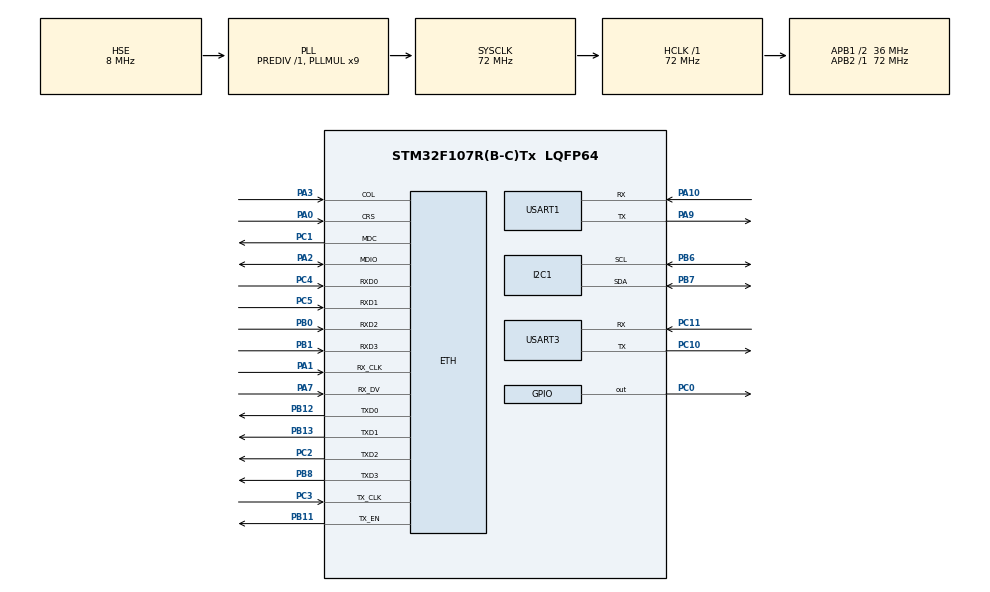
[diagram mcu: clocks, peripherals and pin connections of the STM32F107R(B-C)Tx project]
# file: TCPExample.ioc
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Dma.Request0=USART1_TX
Dma.Request1=USART1_RX
Dma.Request2=USART3_RX
Dma.Request3=USART3_TX
Dma.USART1_RX.1.Direction=DMA_PERIPH_TO_MEMORY
Dma.USART1_RX.1.Instance=DMA1_Channel5
Dma.USART1_RX.1.MemDataAlignment=DMA_MDATAALIGN_BYTE
Dma.USART1_RX.1.MemInc=DMA_MINC_ENABLE
Dma.USART1_RX.1.Mode=DMA_NORMAL
Dma.USART1_RX.1.PeriphDataAlignment=DMA_PDATAALIGN_BYTE
Dma.USART1_RX.1.PeriphInc=DMA_PINC_DISABLE
Dma.USART1_RX.1.Priority=DMA_PRIORITY_LOW
Dma.USART1_TX.0.Direction=DMA_MEMORY_TO_PERIPH
Dma.USART1_TX.0.Instance=DMA1_Channel4
Dma.USART1_TX.0.MemDataAlignment=DMA_MDATAALIGN_BYTE
Dma.USART1_TX.0.MemInc=DMA_MINC_ENABLE
Dma.USART1_TX.0.Mode=DMA_NORMAL
Dma.USART1_TX.0.PeriphDataAlignment=DMA_PDATAALIGN_BYTE
Dma.USART1_TX.0.PeriphInc=DMA_PINC_DISABLE
Dma.USART1_TX.0.Priority=DMA_PRIORITY_LOW
Dma.USART3_RX.2.Direction=DMA_PERIPH_TO_MEMORY
Dma.USART3_RX.2.Instance=DMA1_Channel3
Dma.USART3_RX.2.MemDataAlignment=DMA_MDATAALIGN_BYTE
Dma.USART3_RX.2.MemInc=DMA_MINC_ENABLE
Dma.USART3_RX.2.Mode=DMA_NORMAL
Dma.USART3_RX.2.PeriphDataAlignment=DMA_PDATAALIGN_BYTE
Dma.USART3_RX.2.PeriphInc=DMA_PINC_DISABLE
Dma.USART3_RX.2.Priority=DMA_PRIORITY_LOW
Dma.USART3_TX.3.Direction=DMA_MEMORY_TO_PERIPH
Dma.USART3_TX.3.Instance=DMA1_Channel2
Dma.USART3_TX.3.MemDataAlignment=DMA_MDATAALIGN_BYTE
Dma.USART3_TX.3.MemInc=DMA_MINC_ENABLE
Dma.USART3_TX.3.Mode=DMA_NORMAL
Dma.USART3_TX.3.PeriphDataAlignment=DMA_PDATAALIGN_BYTE
Dma.USART3_TX.3.PeriphInc=DMA_PINC_DISABLE
Dma.USART3_TX.3.Priority=DMA_PRIORITY_LOW
ETH.MediaInterface=ETH_MEDIA_INTERFACE_MII
ETH.PHY_CONFIG_DELAY=0x000000FFF
ETH.PHY_DUPLEX_STATUS=0x0010
ETH.PHY_Name_MII=userPHY
ETH.PHY_RESET_DELAY=5000
ETH.PHY_SPEED_STATUS=0x0004
ETH.PHY_SR=0x1F
ETH.PhyAddress=7
FREERTOS.Tasks01=defaultTask,0,1024,StartDefaultTask,Default,NULL,Dynamic,NULL,NULL
FREERTOS.configTOTAL_HEAP_SIZE=16384
FREERTOS.configUSE_TIMERS=1
LWIP.DEFAULT_RAW_RECVMBOX_SIZE=6
LWIP.GATEWAY_ADDRESS=192.168.001.001
LWIP.IP_ADDRESS=192.168.001.200
LWIP.LWIP_ALLOW_MEM_FREE_FROM_OTHER_CONTEXT=1
LWIP.LWIP_DHCP=0
LWIP.LWIP_DNS=1
LWIP.LWIP_NETIF_API=0
LWIP.LWIP_NETIF_LINK_CALLBACK=1
LWIP.LWIP_NETIF_REMOVE_CALLBACK=0
LWIP.LWIP_RAW=1
LWIP.LWIP_SO_RCVTIMEO=1
LWIP.LWIP_SO_SNDTIMEO=1
LWIP.LWIP_TCP_KEEPALIVE=1
LWIP.MEMP_MEM_MALLOC=1
LWIP.MEMP_NUM_REASSDATA=10
LWIP.MEM_SIZE=3200
LWIP.NETMASK_ADDRESS=255.255.255.000
LWIP.TCP_OOSEQ_MAX_PBUFS=64
LWIP.Version=v2.0.0_Cube
Mcu.Family=STM32F1
Mcu.Name=STM32F107R(B-C)Tx
Mcu.Package=LQFP64
NVIC.DMA1_Channel2_IRQn=true\:5\:0\:false\:false\:true\:true\:false
NVIC.DMA1_Channel3_IRQn=true\:5\:0\:false\:false\:true\:true\:false
NVIC.DMA1_Channel4_IRQn=true\:5\:0\:false\:false\:true\:true\:false
NVIC.DMA1_Channel5_IRQn=true\:5\:0\:false\:false\:true\:true\:false
NVIC.ETH_IRQn=true\:5\:0\:false\:false\:true\:true\:false
NVIC.PriorityGroup=NVIC_PRIORITYGROUP_4
NVIC.TIM1_UP_IRQn=true\:0\:0\:false\:false\:true\:false\:false
NVIC.TimeBase=TIM1_UP_IRQn
NVIC.TimeBaseIP=TIM1
NVIC.USART1_IRQn=true\:5\:0\:false\:false\:true\:true\:true
NVIC.USART3_IRQn=true\:5\:0\:false\:false\:true\:true\:true
PA0-WKUP.Mode=MII
PA0-WKUP.Signal=ETH_CRS
PA1.Mode=MII
PA1.Signal=ETH_RX_CLK
PA10.Mode=Asynchronous
PA10.Signal=USART1_RX
PA13.Mode=Serial_Wire
PA13.Signal=SYS_JTMS-SWDIO
PA14.Mode=Serial_Wire
PA14.Signal=SYS_JTCK-SWCLK
PA2.Mode=MII
PA2.Signal=ETH_MDIO
PA3.Mode=MII
PA3.Signal=ETH_COL
PA7.Mode=MII
PA7.Signal=ETH_RX_DV
PA9.Mode=Asynchronous
PA9.Signal=USART1_TX
PB0.Mode=MII
PB0.Signal=ETH_RXD2
PB1.Mode=MII
PB1.Signal=ETH_RXD3
PB11.Mode=MII
PB11.Signal=ETH_TX_EN
PB12.Mode=MII
PB12.Signal=ETH_TXD0
PB13.Mode=MII
PB13.Signal=ETH_TXD1
PB6.Mode=I2C
PB6.Signal=I2C1_SCL
PB7.Mode=I2C
PB7.Signal=I2C1_SDA
PB8.Mode=MII
PB8.Signal=ETH_TXD3
PC0.PinState=GPIO_PIN_SET
PC0.Signal=GPIO_Output
PC1.Mode=MII
PC1.Signal=ETH_MDC
PC10.Mode=Asynchronous
PC10.Signal=USART3_TX
PC11.Mode=Asynchronous
PC11.Signal=USART3_RX
PC2.Mode=MII
PC2.Signal=ETH_TXD2
PC3.Mode=MII
PC3.Signal=ETH_TX_CLK
PC4.Mode=MII
PC4.Signal=ETH_RXD0
PC5.Mode=MII
PC5.Signal=ETH_RXD1
PD0-OSC_IN.Mode=HSE-External-Oscillator
PD0-OSC_IN.Signal=RCC_OSC_IN
PD1-OSC_OUT.Mode=HSE-External-Oscillator
PD1-OSC_OUT.Signal=RCC_OSC_OUT
ProjectManager.HeapSize=0x200
ProjectManager.StackSize=0x400
ProjectManager.TargetToolchain=MDK-ARM V5
RCC.AHBFreq_Value=72000000
RCC.APB1CLKDivider=RCC_HCLK_DIV2
RCC.APB1Freq_Value=36000000
RCC.APB1TimFreq_Value=72000000
RCC.APB2Freq_Value=72000000
RCC.APB2TimFreq_Value=72000000
RCC.HCLKFreq_Value=72000000
RCC.PLLMUL=RCC_PLL_MUL9
RCC.PLLSourceVirtual=RCC_PLLSOURCE_HSE
RCC.SYSCLKFreq_VALUE=72000000
RCC.SYSCLKSource=RCC_SYSCLKSOURCE_PLLCLK
RCC.USBFreq_Value=48000000
USART1.VirtualMode=VM_ASYNC
USART3.VirtualMode=VM_ASYNC
VP_FREERTOS_VS_ENABLE.Mode=Enabled
VP_LWIP_VS_Enabled.Mode=Enabled
VP_SYS_VS_tim1.Mode=TIM1
board=TCPExample

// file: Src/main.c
/**
  ******************************************************************************
  * @file           : main.c
  * @brief          : Main program body
  ******************************************************************************
  * This notice applies to any and all portions of this file
  * that are not between comment pairs USER CODE BEGIN and
  * USER CODE END. Other portions of this file, whether
  * inserted by the user or by software development tools
  * are owned by their respective copyright owners.
  *
  * Copyright (c) 2018 STMicroelectronics International N.V.
  * All rights reserved.
  *
  * Redistribution and use in source and binary forms, with or without
  * modification, are permitted, provided that the following conditions are met:
  *
  * 1. Redistribution of source code must retain the above copyright notice,
  *    this list of conditions and the following disclaimer.
  * 2. Redistributions in binary form must reproduce the above copyright notice,
  *    this list of conditions and the following disclaimer in the documentation
  *    and/or other materials provided with the distribution.
  * 3. Neither the name of STMicroelectronics nor the names of other
  *    contributors to this software may be used to endorse or promote products
  *    derived from this software without specific written permission.
  * 4. This software, including modifications and/or derivative works of this
  *    software, must execute solely and exclusively on microcontroller or
  *    microprocessor devices manufactured by or for STMicroelectronics.
  * 5. Redistribution and use of this software other than as permitted under
  *    this license is void and will automatically terminate your rights under
  *    this license.
  *
  * THIS SOFTWARE IS PROVIDED BY STMICROELECTRONICS AND CONTRIBUTORS "AS IS"
  * AND ANY EXPRESS, IMPLIED OR STATUTORY WARRANTIES, INCLUDING, BUT NOT
  * LIMITED TO, THE IMPLIED WARRANTIES OF MERCHANTABILITY, FITNESS FOR A
  * PARTICULAR PURPOSE AND NON-INFRINGEMENT OF THIRD PARTY INTELLECTUAL PROPERTY
  * RIGHTS ARE DISCLAIMED TO THE FULLEST EXTENT PERMITTED BY LAW. IN NO EVENT
  * SHALL STMICROELECTRONICS OR CONTRIBUTORS BE LIABLE FOR ANY DIRECT, INDIRECT,
  * INCIDENTAL, SPECIAL, EXEMPLARY, OR CONSEQUENTIAL DAMAGES (INCLUDING, BUT NOT
  * LIMITED TO, PROCUREMENT OF SUBSTITUTE GOODS OR SERVICES; LOSS OF USE, DATA,
  * OR PROFITS; OR BUSINESS INTERRUPTION) HOWEVER CAUSED AND ON ANY THEORY OF
  * LIABILITY, WHETHER IN CONTRACT, STRICT LIABILITY, OR TORT (INCLUDING
  * NEGLIGENCE OR OTHERWISE) ARISING IN ANY WAY OUT OF THE USE OF THIS SOFTWARE,
  * EVEN IF ADVISED OF THE POSSIBILITY OF SUCH DAMAGE.
  *
  ******************************************************************************
  */
#include "main.h"
#include "stm32f1xx_hal.h"
#include "cmsis_os.h"
#include "lwip.h"

I2C_HandleTypeDef hi2c1;

UART_HandleTypeDef huart1;
UART_HandleTypeDef huart3;
DMA_HandleTypeDef hdma_usart1_tx;
DMA_HandleTypeDef hdma_usart1_rx;
DMA_HandleTypeDef hdma_usart3_rx;
DMA_HandleTypeDef hdma_usart3_tx;

osThreadId defaultTaskHandle;

/* USER CODE BEGIN PV */
/* Private variables ---------------------------------------------------------*/

/* USER CODE END PV */

void SystemClock_Config(void);
static void MX_GPIO_Init(void);
static void MX_DMA_Init(void);
static void MX_USART1_UART_Init(void);
static void MX_USART3_UART_Init(void);
static void MX_I2C1_Init(void);
void StartDefaultTask(void const * argument);

/* USER CODE BEGIN PFP */
/* Private function prototypes -----------------------------------------------*/

/* USER CODE END PFP */

int main(void)
{

  /* MCU Configuration----------------------------------------------------------*/

  /* Reset of all peripherals, Initializes the Flash interface and the Systick. */
  HAL_Init();

  /* Configure the system clock */
  SystemClock_Config();

  /* Initialize all configured peripherals */
  MX_GPIO_Init();
  MX_DMA_Init();
  MX_USART1_UART_Init();
  MX_USART3_UART_Init();
  MX_I2C1_Init();

  /* Create the thread(s) */
  /* definition and creation of defaultTask */
  osThreadDef(defaultTask, StartDefaultTask, osPriorityNormal, 0, 1024);
  defaultTaskHandle = osThreadCreate(osThread(defaultTask), NULL);

  /* Start scheduler */
  osKernelStart();

  /* We should never get here as control is now taken by the scheduler */

  /* Infinite loop */
  while (1)
  {

  }

}

void SystemClock_Config(void)
{

  RCC_OscInitTypeDef RCC_OscInitStruct;
  RCC_ClkInitTypeDef RCC_ClkInitStruct;

    /**Initializes the CPU, AHB and APB busses clocks
    */
  RCC_OscInitStruct.OscillatorType = RCC_OSCILLATORTYPE_HSE;
  RCC_OscInitStruct.HSEState = RCC_HSE_ON;
  RCC_OscInitStruct.HSEPredivValue = RCC_HSE_PREDIV_DIV1;
  RCC_OscInitStruct.HSIState = RCC_HSI_ON;
  RCC_OscInitStruct.Prediv1Source = RCC_PREDIV1_SOURCE_HSE;
  RCC_OscInitStruct.PLL.PLLState = RCC_PLL_ON;
  RCC_OscInitStruct.PLL.PLLSource = RCC_PLLSOURCE_HSE;
  RCC_OscInitStruct.PLL.PLLMUL = RCC_PLL_MUL9;
  RCC_OscInitStruct.PLL2.PLL2State = RCC_PLL_NONE;
  if (HAL_RCC_OscConfig(&RCC_OscInitStruct) != HAL_OK)
  {
    _Error_Handler(__FILE__, __LINE__);
  }

    /**Initializes the CPU, AHB and APB busses clocks
    */
  RCC_ClkInitStruct.ClockType = RCC_CLOCKTYPE_HCLK|RCC_CLOCKTYPE_SYSCLK
                              |RCC_CLOCKTYPE_PCLK1|RCC_CLOCKTYPE_PCLK2;
  RCC_ClkInitStruct.SYSCLKSource = RCC_SYSCLKSOURCE_PLLCLK;
  RCC_ClkInitStruct.AHBCLKDivider = RCC_SYSCLK_DIV1;
  RCC_ClkInitStruct.APB1CLKDivider = RCC_HCLK_DIV2;
  RCC_ClkInitStruct.APB2CLKDivider = RCC_HCLK_DIV1;

  if (HAL_RCC_ClockConfig(&RCC_ClkInitStruct, FLASH_LATENCY_2) != HAL_OK)
  {
    _Error_Handler(__FILE__, __LINE__);
  }

    /**Configure the Systick interrupt time
    */
  HAL_SYSTICK_Config(HAL_RCC_GetHCLKFreq()/1000);

    /**Configure the Systick
    */
  HAL_SYSTICK_CLKSourceConfig(SYSTICK_CLKSOURCE_HCLK);

    /**Configure the Systick interrupt time
    */
  __HAL_RCC_PLLI2S_ENABLE();

  /* SysTick_IRQn interrupt configuration */
  HAL_NVIC_SetPriority(SysTick_IRQn, 15, 0);
}

/* I2C1 init function */
static void MX_I2C1_Init(void)
{

  hi2c1.Instance = I2C1;
  hi2c1.Init.ClockSpeed = 100000;
  hi2c1.Init.DutyCycle = I2C_DUTYCYCLE_2;
  hi2c1.Init.OwnAddress1 = 0;
  hi2c1.Init.AddressingMode = I2C_ADDRESSINGMODE_7BIT;
  hi2c1.Init.DualAddressMode = I2C_DUALADDRESS_DISABLE;
  hi2c1.Init.OwnAddress2 = 0;
  hi2c1.Init.GeneralCallMode = I2C_GENERALCALL_DISABLE;
  hi2c1.Init.NoStretchMode = I2C_NOSTRETCH_DISABLE;
  if (HAL_I2C_Init(&hi2c1) != HAL_OK)
  {
    _Error_Handler(__FILE__, __LINE__);
  }

}

/* USART1 init function */
static void MX_USART1_UART_Init(void)
{

  huart1.Instance = USART1;
  huart1.Init.BaudRate = 115200;
  huart1.Init.WordLength = UART_WORDLENGTH_8B;
  huart1.Init.StopBits = UART_STOPBITS_1;
  huart1.Init.Parity = UART_PARITY_NONE;
  huart1.Init.Mode = UART_MODE_TX_RX;
  huart1.Init.HwFlowCtl = UART_HWCONTROL_NONE;
  huart1.Init.OverSampling = UART_OVERSAMPLING_16;
  if (HAL_UART_Init(&huart1) != HAL_OK)
  {
    _Error_Handler(__FILE__, __LINE__);
  }

}

/* USART3 init function */
static void MX_USART3_UART_Init(void)
{

  huart3.Instance = USART3;
  huart3.Init.BaudRate = 115200;
  huart3.Init.WordLength = UART_WORDLENGTH_8B;
  huart3.Init.StopBits = UART_STOPBITS_1;
  huart3.Init.Parity = UART_PARITY_NONE;
  huart3.Init.Mode = UART_MODE_TX_RX;
  huart3.Init.HwFlowCtl = UART_HWCONTROL_NONE;
  huart3.Init.OverSampling = UART_OVERSAMPLING_16;
  if (HAL_UART_Init(&huart3) != HAL_OK)
  {
    _Error_Handler(__FILE__, __LINE__);
  }

}

static void MX_DMA_Init(void)
{
  /* DMA controller clock enable */
  __HAL_RCC_DMA1_CLK_ENABLE();

  /* DMA interrupt init */
  /* DMA1_Channel2_IRQn interrupt configuration */
  HAL_NVIC_SetPriority(DMA1_Channel2_IRQn, 5, 0);
  HAL_NVIC_EnableIRQ(DMA1_Channel2_IRQn);
  /* DMA1_Channel3_IRQn interrupt configuration */
  HAL_NVIC_SetPriority(DMA1_Channel3_IRQn, 5, 0);
  HAL_NVIC_EnableIRQ(DMA1_Channel3_IRQn);
  /* DMA1_Channel4_IRQn interrupt configuration */
  HAL_NVIC_SetPriority(DMA1_Channel4_IRQn, 5, 0);
  HAL_NVIC_EnableIRQ(DMA1_Channel4_IRQn);
  /* DMA1_Channel5_IRQn interrupt configuration */
  HAL_NVIC_SetPriority(DMA1_Channel5_IRQn, 5, 0);
  HAL_NVIC_EnableIRQ(DMA1_Channel5_IRQn);

}

/** Configure pins as
        * Analog
        * Input
        * Output
        * EVENT_OUT
        * EXTI
*/
static void MX_GPIO_Init(void)
{

  GPIO_InitTypeDef GPIO_InitStruct;

  /* GPIO Ports Clock Enable */
  __HAL_RCC_GPIOD_CLK_ENABLE();
  __HAL_RCC_GPIOC_CLK_ENABLE();
  __HAL_RCC_GPIOA_CLK_ENABLE();
  __HAL_RCC_GPIOB_CLK_ENABLE();

  /*Configure GPIO pin Output Level */
  HAL_GPIO_WritePin(GPIOC, GPIO_PIN_0, GPIO_PIN_SET);

  /*Configure GPIO pin : PC0 */
  GPIO_InitStruct.Pin = GPIO_PIN_0;
  GPIO_InitStruct.Mode = GPIO_MODE_OUTPUT_PP;
  GPIO_InitStruct.Speed = GPIO_SPEED_FREQ_LOW;
  HAL_GPIO_Init(GPIOC, &GPIO_InitStruct);

}

/* USER CODE BEGIN 4 */
#include "lwiperf.h"
static void
lwiperf_report(void *arg, enum lwiperf_report_type report_type,
  const ip_addr_t* local_addr, u16_t local_port, const ip_addr_t* remote_addr, u16_t remote_port,
  u32_t bytes_transferred, u32_t ms_duration, u32_t bandwidth_kbitpsec)
{
  LWIP_UNUSED_ARG(arg);
  LWIP_UNUSED_ARG(local_addr);
  LWIP_UNUSED_ARG(local_port);

  printf("IPERF report: type=%d, remote: %s:%d, total bytes: %d, duration in ms: %d, kbits/s: %d\r\n",
    (int)report_type, ipaddr_ntoa(remote_addr), (int)remote_port, bytes_transferred, ms_duration, bandwidth_kbitpsec);
}

long iperf(void)
{
	lwiperf_start_tcp_server_default(lwiperf_report, NULL);
	return 0;
}
int fputc( int ch, FILE *f )
{
    HAL_UART_Transmit( &huart1, ( uint8_t * )&ch, 1, 0xFFFF );
    return ch;
}
/* USER CODE END 4 */

/* StartDefaultTask function */
void StartDefaultTask(void const * argument)
{
  /* init code for LWIP */
  MX_LWIP_Init();

  /* USER CODE BEGIN 5 */
	void ping_main(const char *host);

	osDelay(5*1000);
	iperf();
	ip_addr_t dnsserver;
	IP_ADDR4( &dnsserver, 114,114,114,114);
	dns_setserver(0, &dnsserver);
  /* Infinite loop */
  for(;;)
  {
		ping_main("114.114.114.114");
    osDelay(1000);
  }
  /* USER CODE END 5 */
}

void HAL_TIM_PeriodElapsedCallback(TIM_HandleTypeDef *htim)
{
  if (htim->Instance == TIM1) {
    HAL_IncTick();
  }
}

void _Error_Handler(char *file, int line)
{
  while(1)
  {
  }
}

/************************ (C) COPYRIGHT STMicroelectronics *****END OF FILE****/
